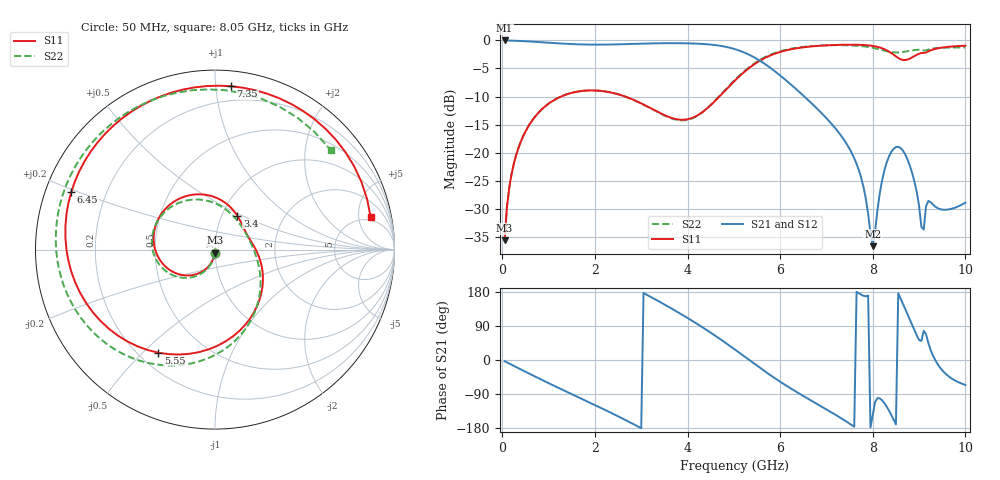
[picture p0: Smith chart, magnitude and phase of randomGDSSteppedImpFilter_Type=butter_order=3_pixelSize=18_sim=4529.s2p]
! freq	dB(S11)	phase(S11)	dB(S12)	phase(S12)
!  dB(S21)	phase(S21)	dB(S22)	phase(S22)
!S-par simulation data
#  GHz  S  DB  R 50
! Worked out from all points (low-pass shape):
!   200 points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, 50 MHz to 10 GHz, reference 50 ohm
!   highest |S21| = -0.01 dB at 50 MHz (marker M1); lowest = -36.6 dB at 8 GHz (marker M2)
!   |S21| within 3 dB of the highest: start of sweep to 5.437 GHz
!   lowest |S11| = -35.6 dB at 50 MHz (marker M3), VSWR 1.03, Z = 49.9 - j1.66 ohm
!   |S11| at or under -10 dB: start of sweep to 1.266 GHz; 2.657 GHz to 4.686 GHz (2.029 GHz wide, 55.3 % of centre)
!   |S22| runs from -35.6 to -0.8 dB; largest |S21 - S12| = 0
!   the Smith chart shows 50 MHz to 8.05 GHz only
!   S11 on the Smith chart (normalised r, x): 50 MHz: 1.00, -0.03; 3.4 GHz: 1.18, +0.47; 5.55 GHz: 0.28, -0.56; 6.45 GHz: 0.08, +0.19; 7.35 GHz: 0.10, +1.10; 8.05 GHz: 4.32, +7.20
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0.05  -35.60 -92.5  -0.01 -3.2  -0.01 -3.2  -35.59 -92.2
0.2  -23.79 -103.3  -0.04 -12.5  -0.04 -12.5  -23.79 -102.0
0.5  -16.22 -123.1  -0.15 -31.0  -0.15 -31.0  -16.22 -119.9
1.75  -8.97 159.3  -0.72 -104.4  -0.72 -104.4  -8.97 170.8
2.7  -10.13 100.7  -0.66 -160.9  -0.66 -160.9  -10.15 117.2
3.4  -12.90 56.9  -0.51 153.5  -0.51 153.5  -12.97 70.3
4.25  -13.17 3.9  -0.60 92.0  -0.60 92.0  -13.22 -1.8
5.05  -6.92 -67.9  -1.62 25.2  -1.62 25.2  -6.80 -65.9
5.55  -3.67 -118.9  -3.55 -19.5  -3.55 -19.5  -3.53 -105.5
6.05  -1.94 -166.8  -6.57 -61.2  -6.57 -61.2  -1.82 -142.7
6.45  -1.28 158.3  -9.44 -91.4  -9.44 -91.4  -1.20 -169.9
6.7  -1.05 137.7  -11.37 -109.2  -11.37 -109.2  -0.99 173.5
7.35  -0.78 84.5  -17.35 -156.2  -17.35 -156.2  -0.85 126.6
7.75  -0.80 47.5  -24.46 172.4  -24.46 172.4  -1.02 86.3
8  -0.98 18.5  -36.63 -144.4  -36.63 -144.4  -1.32 49.7
8.05  -1.05 11.7  -34.03 -111.2  -34.03 -111.2  -1.41 40.8
8.35  -1.98 -43.1  -20.66 -133.5  -20.66 -133.5  -2.01 -25.6
8.55  -3.12 -101.4  -18.94 176.3  -18.94 176.3  -2.14 -74.8
8.8  -3.25 170.0  -22.29 106.2  -22.29 106.2  -1.85 -126.4
9.05  -2.24 107.0  -33.21 50.1  -33.21 50.1  -1.69 -164.3
9.2  -1.95 85.0  -28.57 44.8  -28.57 44.8  -1.62 -179.2
10  -0.95 15.3  -28.88 -65.9  -28.88 -65.9  -1.25 118.5
